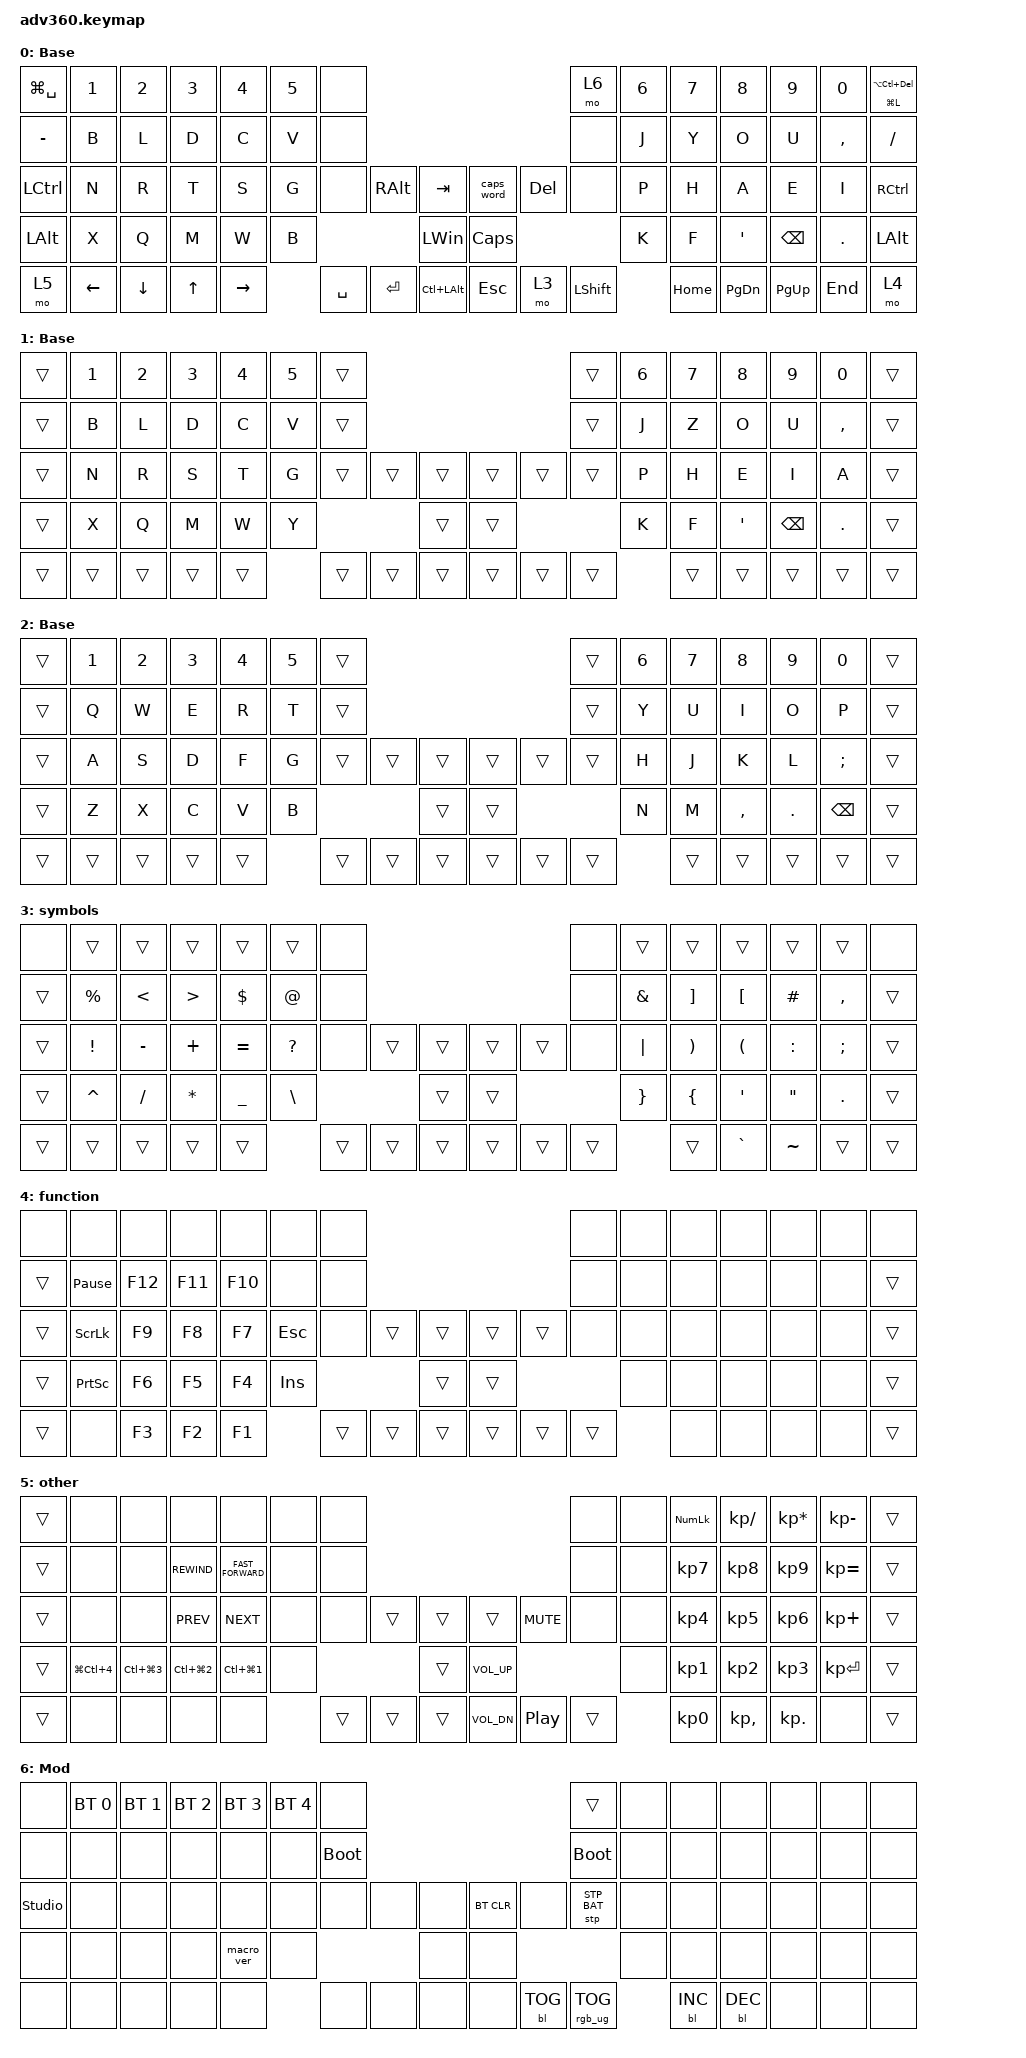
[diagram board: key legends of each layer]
#include <dt-bindings/zmk/stp.h>
#include <behaviors.dtsi>
#include <dt-bindings/zmk/backlight.h>
#include <dt-bindings/zmk/bt.h>
#include <dt-bindings/zmk/keys.h>
#include <dt-bindings/zmk/rgb.h>

&caps_word {
    continue-list = <UNDERSCORE MINUS BACKSPACE>;
};

/ {
    behaviors {
        #include "macros.dtsi"
      #include "version.dtsi"

        hm: homerow_mods {
            compatible = "zmk,behavior-hold-tap";
            label = "HOMEROW_MODS";
            #binding-cells = <2>;
            tapping-term-ms = <200>;
            quick_tap_ms = <175>;
            flavor = "tap-preferred";
            bindings = <&kp>, <&kp>;
        };
    };

    keymap {
        compatible = "zmk,keymap";

        default_layer {
            display-name = "Base";
            bindings = <
&kp LG(SPACE)     &kp N1    &kp N2    &kp N3        &kp N4     &kp N5  &none                                                                     &mo 6           &kp N6  &kp N7    &kp N8         &kp N9         &kp N0     &mt LG(L) LA(LC(DEL))
&kp MINUS         &kp B     &kp L     &kp D         &kp C      &kp V   &none                                                                     &none           &kp J   &kp Y     &kp O          &kp U          &kp COMMA  &kp SLASH
&kp LEFT_CONTROL  &kp N     &kp R     &kp T         &kp S      &kp G   &none      &kp RIGHT_ALT  &kp TAB               &caps_word    &kp DELETE  &none           &kp P   &kp H     &kp A          &kp E          &kp I      &kp RIGHT_CONTROL
&kp LEFT_ALT      &kp X     &kp Q     &kp M         &kp W      &kp B                             &kp LEFT_WIN          &kp CAPSLOCK                              &kp K   &kp F     &kp SQT        &kp BACKSPACE  &kp DOT    &kp LEFT_ALT
&mo 5             &kp LEFT  &kp DOWN  &kp UP_ARROW  &kp RIGHT          &kp SPACE  &kp ENTER      &kp LC(LEFT_ALT)      &kp ESC       &mo 3       &kp LEFT_SHIFT          &kp HOME  &kp PAGE_DOWN  &kp PAGE_UP    &kp END    &mo 4
            >;
        };

        gallium_ger {
            display-name = "Base";
            bindings = <
&trans  &kp N1  &kp N2  &kp N3  &kp N4  &kp N5  &trans                                      &trans  &kp N6  &kp N7  &kp N8   &kp N9         &kp N0     &trans
&trans  &kp B   &kp L   &kp D   &kp C   &kp V   &trans                                      &trans  &kp J   &kp Z   &kp O    &kp U          &kp COMMA  &trans
&trans  &kp N   &kp R   &kp S   &kp T   &kp G   &trans  &trans  &trans      &trans  &trans  &trans  &kp P   &kp H   &kp E    &kp I          &kp A      &trans
&trans  &kp X   &kp Q   &kp M   &kp W   &kp Y                   &trans      &trans                  &kp K   &kp F   &kp SQT  &kp BACKSPACE  &kp DOT    &trans
&trans  &trans  &trans  &trans  &trans          &trans  &trans  &trans      &trans  &trans  &trans          &trans  &trans   &trans         &trans     &trans
            >;
        };

        qwerty {
            display-name = "Base";
            bindings = <
&trans  &kp N1  &kp N2  &kp N3  &kp N4  &kp N5  &trans                                      &trans  &kp N6  &kp N7  &kp N8     &kp N9   &kp N0         &trans
&trans  &kp Q   &kp W   &kp E   &kp R   &kp T   &trans                                      &trans  &kp Y   &kp U   &kp I      &kp O    &kp P          &trans
&trans  &kp A   &kp S   &kp D   &kp F   &kp G   &trans  &trans  &trans      &trans  &trans  &trans  &kp H   &kp J   &kp K      &kp L    &kp SEMI       &trans
&trans  &kp Z   &kp X   &kp C   &kp V   &kp B                   &trans      &trans                  &kp N   &kp M   &kp COMMA  &kp DOT  &kp BACKSPACE  &trans
&trans  &trans  &trans  &trans  &trans          &trans  &trans  &trans      &trans  &trans  &trans          &trans  &trans     &trans   &trans         &trans
            >;
        };

        symbols {
            bindings = <
&none   &trans       &trans         &trans            &trans      &trans         &none                                       &none   &trans           &trans                 &trans                &trans             &trans     &none
&trans  &kp PERCENT  &kp LESS_THAN  &kp GREATER_THAN  &kp DOLLAR  &kp AT         &none                                       &none   &kp AMPERSAND    &kp RIGHT_BRACKET      &kp LEFT_BRACKET      &kp HASH           &kp COMMA  &trans
&trans  &kp EXCL     &kp MINUS      &kp PLUS          &kp EQUAL   &kp QUESTION   &none   &trans  &trans      &trans  &trans  &none   &kp PIPE         &kp RIGHT_PARENTHESIS  &kp LEFT_PARENTHESIS  &kp COLON          &kp SEMI   &trans
&trans  &kp CARET    &kp SLASH      &kp ASTERISK      &kp UNDER   &kp BACKSLASH                  &trans      &trans                  &kp RIGHT_BRACE  &kp LEFT_BRACE         &kp SQT               &kp DOUBLE_QUOTES  &kp DOT    &trans
&trans  &trans       &trans         &trans            &trans                     &trans  &trans  &trans      &trans  &trans  &trans                   &trans                 &kp GRAVE             &kp TILDE          &trans     &trans
            >;
        };

        function {
            bindings = <
&none   &none            &none    &none    &none    &none       &none                                       &none   &none  &none  &none  &none  &none  &none
&trans  &kp PAUSE_BREAK  &kp F12  &kp F11  &kp F10  &none       &none                                       &none   &none  &none  &none  &none  &none  &trans
&trans  &kp SCROLLLOCK   &kp F9   &kp F8   &kp F7   &kp ESCAPE  &none   &trans  &trans      &trans  &trans  &none   &none  &none  &none  &none  &none  &trans
&trans  &kp PRINTSCREEN  &kp F6   &kp F5   &kp F4   &kp INS                     &trans      &trans                  &none  &none  &none  &none  &none  &trans
&trans  &none            &kp F3   &kp F2   &kp F1               &trans  &trans  &trans      &trans  &trans  &trans         &none  &none  &none  &none  &trans
            >;
        };

        other {
            bindings = <
&trans  &none                 &none                 &none                 &none                 &none  &none                                                 &none   &none  &kp KP_NUMLOCK   &kp KP_SLASH     &kp KP_MULTIPLY  &kp KP_SUBTRACT  &trans
&trans  &none                 &none                 &kp C_REWIND          &kp C_FAST_FORWARD    &none  &none                                                 &none   &none  &kp KP_NUMBER_7  &kp KP_NUMBER_8  &kp KP_NUMBER_9  &kp KP_EQUAL     &trans
&trans  &none                 &none                 &kp C_PREV            &kp C_NEXT            &none  &none   &trans  &trans      &trans        &kp C_MUTE  &none   &none  &kp KP_NUMBER_4  &kp KP_NUMBER_5  &kp KP_NUMBER_6  &kp KP_PLUS      &trans
&trans  &kp LG(LC(NUMBER_4))  &kp LC(LG(NUMBER_3))  &kp LC(LG(NUMBER_2))  &kp LC(LG(NUMBER_1))  &none                  &trans      &kp C_VOL_UP                      &none  &kp KP_NUMBER_1  &kp KP_NUMBER_2  &kp KP_NUMBER_3  &kp KP_ENTER     &trans
&trans  &none                 &none                 &none                 &none                        &trans  &trans  &trans      &kp C_VOL_DN  &kp C_PP    &trans         &kp KP_NUMBER_0  &kp KP_COMMA     &kp KP_DOT       &none            &trans
            >;
        };

        mod {
            display-name = "Mod";
            bindings = <
&none           &bt BT_SEL 0  &bt BT_SEL 1  &bt BT_SEL 2  &bt BT_SEL 3  &bt BT_SEL 4  &none                                                  &trans           &none  &none       &none       &none  &none  &none
&none           &none         &none         &none         &none         &none         &bootloader                                            &bootloader      &none  &none       &none       &none  &none  &none
&studio_unlock  &none         &none         &none         &none         &none         &none        &none  &none      &bt BT_CLR  &none       &stp STP_BAT     &none  &none       &none       &none  &none  &none
&none           &none         &none         &none         &macro_ver    &none                             &none      &none                                    &none  &none       &none       &none  &none  &none
&none           &none         &none         &none         &none                       &none        &none  &none      &none       &bl BL_TOG  &rgb_ug RGB_TOG         &bl BL_INC  &bl BL_DEC  &none  &none  &none
            >;
        };
    };
};
